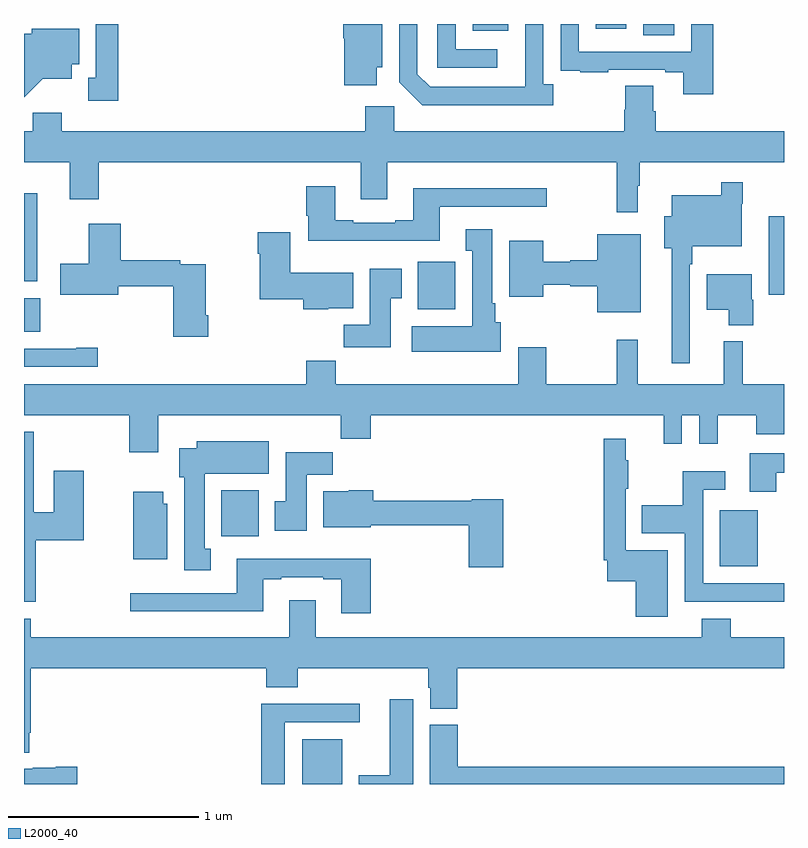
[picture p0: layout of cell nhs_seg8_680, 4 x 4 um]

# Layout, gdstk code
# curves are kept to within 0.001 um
import gdstk
lib = gdstk.Library(unit=1e-6, precision=1e-09)
def R(c, l, rs):  # rectangles x0, y0, x1, y1
    for r in rs: c.add(gdstk.rectangle(r[:2], r[2:], *l))
def P(c, l, *ps):  # polygons
    for p in ps: c.add(gdstk.Polygon(p, *l))
L2000_40 = (2000, 40)

nhs_seg8_680 = lib.new_cell('nhs_seg8_680')
R(nhs_seg8_680, L2000_40, [(156.464,1107.9,156.676,1108.135), (158.663,1109.045,158.863,1109.341), (156.038,1109.204,156.235,1109.446), (155,1110.281,155.086,1110.456), (157.073,1110.398,157.269,1110.649), (158.921,1110.476,159,1110.889), (155,1110.545,155.071,1111.009), (158.258,1111.84,158.422,1111.9), (157.361,1111.865,157.549,1111.9), (158.009,1111.875,158.17,1111.9)])
P(nhs_seg8_680, L2000_40, [(156.856,1111.673),(156.886,1111.673),(156.886,1111.9),(156.679,1111.9),(156.679,1111.826),(156.686,1111.826),(156.686,1111.578),(156.856,1111.578)],
  [(158.627,1111.9),(158.511,1111.9),(158.511,1111.755),(157.92,1111.755),(157.92,1111.9),(157.824,1111.9),(157.824,1111.762),(157.825,1111.762),(157.825,1111.653),(157.927,1111.653),(157.927,1111.647),(158.075,1111.647),(158.075,1111.659),(158.375,1111.659),(158.375,1111.647),(158.471,1111.647),(158.471,1111.53),(158.627,1111.53)],
  [(157.786,1111.582),(157.734,1111.582),(157.734,1111.9),(157.638,1111.9),(157.637,1111.569),(157.137,1111.569),(157.071,1111.635),(157.071,1111.9),(156.975,1111.9),(156.975,1111.593),(157.096,1111.472),(157.786,1111.472)],
  [(155.497,1111.9),(155.378,1111.9),(155.378,1111.617),(155.339,1111.617),(155.339,1111.497),(155.497,1111.497)],
  [(157.492,1111.767),(157.272,1111.767),(157.272,1111.9),(157.176,1111.9),(157.176,1111.671),(157.492,1111.671)],
  [(155.099,1111.613),(155.251,1111.613),(155.251,1111.689),(155.29,1111.689),(155.29,1111.876),(155.04,1111.876),(155.04,1111.849),(155,1111.849),(155,1111.515)],
  [(158.23,1111.049),(158.242,1111.049),(158.242,1111.172),(159,1111.172),(159,1111.336),(158.324,1111.336),(158.324,1111.442),(158.311,1111.442),(158.311,1111.574),(158.164,1111.574),(158.164,1111.449),(158.159,1111.449),(158.159,1111.336),(156.948,1111.336),(156.948,1111.468),(156.797,1111.468),(156.797,1111.336),(155.198,1111.336),(155.198,1111.432),(155.046,1111.432),(155.046,1111.336),(155,1111.336),(155,1111.172),(155.24,1111.172),(155.24,1110.978),(155.393,1110.978),(155.393,1111.172),(156.773,1111.172),(156.773,1110.978),(156.913,1110.978),(156.913,1111.172),(158.121,1111.172),(158.121,1110.909),(158.23,1110.909)],
  [(158.505,1110.635),(158.518,1110.635),(158.518,1110.731),(158.778,1110.731),(158.778,1110.953),(158.783,1110.953),(158.783,1111.066),(158.67,1111.066),(158.67,1111),(158.408,1111),(158.408,1110.889),(158.369,1110.889),(158.369,1110.719),(158.408,1110.719),(158.408,1110.114),(158.505,1110.114)],
  [(157.189,1110.939),(157.75,1110.939),(157.75,1111.036),(157.049,1111.036),(157.049,1110.868),(156.953,1110.868),(156.953,1110.855),(156.733,1110.855),(156.733,1110.868),(156.637,1110.868),(156.637,1111.045),(156.485,1111.045),(156.485,1110.892),(156.497,1110.892),(156.497,1110.758),(157.189,1110.758)],
  [(155.969,1110.367),(155.956,1110.367),(155.956,1110.636),(155.822,1110.636),(155.822,1110.656),(155.51,1110.656),(155.51,1110.85),(155.342,1110.85),(155.342,1110.639),(155.19,1110.639),(155.19,1110.476),(155.497,1110.476),(155.497,1110.52),(155.786,1110.52),(155.786,1110.255),(155.969,1110.255)],
  [(157.51,1110.33),(157.48,1110.33),(157.48,1110.43),(157.465,1110.43),(157.465,1110.82),(157.325,1110.82),(157.325,1110.707),(157.358,1110.707),(157.358,1110.31),(157.041,1110.31),(157.041,1110.176),(157.51,1110.176)],
  [(156.6,1110.404),(156.733,1110.404),(156.733,1110.592),(156.4,1110.592),(156.4,1110.805),(156.23,1110.805),(156.23,1110.692),(156.242,1110.692),(156.242,1110.452),(156.47,1110.452),(156.47,1110.398),(156.6,1110.398)],
  [(158.245,1110.793),(158.018,1110.793),(158.018,1110.656),(157.875,1110.656),(157.875,1110.649),(157.732,1110.649),(157.732,1110.76),(157.553,1110.76),(157.553,1110.464),(157.732,1110.464),(157.732,1110.528),(157.875,1110.528),(157.875,1110.52),(158.018,1110.52),(158.018,1110.383),(158.245,1110.383)],
  [(156.931,1110.457),(156.988,1110.457),(156.988,1110.613),(156.821,1110.613),(156.821,1110.316),(156.682,1110.316),(156.682,1110.198),(156.931,1110.198)],
  [(158.838,1110.45),(158.83,1110.45),(158.83,1110.583),(158.594,1110.583),(158.594,1110.395),(158.708,1110.395),(158.708,1110.314),(158.838,1110.314)],
  [(155.707,1109.84),(156.667,1109.84),(156.667,1109.716),(156.824,1109.716),(156.824,1109.84),(158.366,1109.84),(158.366,1109.691),(158.463,1109.691),(158.463,1109.84),(158.553,1109.84),(158.553,1109.691),(158.651,1109.691),(158.651,1109.84),(158.855,1109.84),(158.855,1109.741),(159,1109.741),(159,1110.004),(158.784,1110.004),(158.784,1110.229),(158.684,1110.229),(158.684,1110.004),(158.231,1110.004),(158.231,1110.238),(158.121,1110.238),(158.121,1110.004),(157.749,1110.004),(157.749,1110.199),(157.601,1110.199),(157.601,1110.004),(156.641,1110.004),(156.641,1110.128),(156.485,1110.128),(156.485,1110.004),(155,1110.004),(155,1109.84),(155.555,1109.84),(155.555,1109.646),(155.707,1109.646)],
  [(155.389,1110.197),(155.276,1110.197),(155.276,1110.192),(155,1110.192),(155,1110.096),(155.389,1110.096)],
  [(155.063,1109.183),(155.314,1109.183),(155.314,1109.548),(155.156,1109.548),(155.156,1109.33),(155.05,1109.33),(155.05,1109.755),(155,1109.755),(155,1108.859),(155.063,1108.859)],
  [(158.389,1109.131),(158.166,1109.131),(158.166,1109.455),(158.179,1109.455),(158.179,1109.603),(158.168,1109.603),(158.168,1109.716),(158.05,1109.716),(158.05,1109.077),(158.07,1109.077),(158.07,1108.966),(158.219,1108.966),(158.219,1108.779),(158.389,1108.779)],
  [(155.983,1109.138),(155.95,1109.138),(155.95,1109.534),(156.289,1109.534),(156.289,1109.704),(155.909,1109.704),(155.909,1109.668),(155.816,1109.668),(155.816,1109.514),(155.843,1109.514),(155.843,1109.025),(155.983,1109.025)],
  [(156.487,1109.528),(156.626,1109.528),(156.626,1109.646),(156.377,1109.646),(156.377,1109.388),(156.32,1109.388),(156.32,1109.232),(156.487,1109.232)],
  [(158.959,1109.537),(159,1109.537),(159,1109.641),(158.819,1109.641),(158.819,1109.439),(158.959,1109.439)],
  [(159,1108.956),(158.574,1108.956),(158.574,1109.448),(158.692,1109.448),(158.692,1109.545),(158.466,1109.545),(158.466,1109.367),(158.251,1109.367),(158.251,1109.219),(158.478,1109.219),(158.478,1108.86),(158.803,1108.86),(158.803,1108.859),(159,1108.859)],
  [(157.523,1109.4),(157.356,1109.4),(157.356,1109.392),(156.839,1109.392),(156.839,1109.446),(156.708,1109.446),(156.708,1109.44),(156.575,1109.44),(156.575,1109.252),(156.826,1109.252),(156.826,1109.263),(157.34,1109.263),(157.34,1109.04),(157.523,1109.04)],
  [(155.755,1109.376),(155.734,1109.376),(155.734,1109.437),(155.576,1109.437),(155.576,1109.084),(155.755,1109.084)],
  [(156.824,1109.086),(156.119,1109.086),(156.119,1108.905),(155.559,1108.905),(155.559,1108.808),(156.259,1108.808),(156.259,1108.977),(156.355,1108.977),(156.355,1108.989),(156.575,1108.989),(156.575,1108.977),(156.671,1108.977),(156.671,1108.8),(156.824,1108.8)],
  [(156.395,1108.672),(155.036,1108.672),(155.036,1108.771),(155,1108.771),(155,1108.064),(155.027,1108.064),(155.027,1108.171),(155.035,1108.171),(155.035,1108.508),(156.275,1108.508),(156.275,1108.409),(156.44,1108.409),(156.44,1108.508),(157.127,1108.508),(157.127,1108.407),(157.139,1108.407),(157.139,1108.297),(157.28,1108.297),(157.28,1108.508),(159,1108.508),(159,1108.672),(158.72,1108.672),(158.72,1108.771),(158.567,1108.771),(158.567,1108.672),(156.535,1108.672),(156.535,1108.867),(156.395,1108.867)],
  [(157.048,1108.345),(156.926,1108.345),(156.926,1107.946),(156.761,1107.946),(156.761,1107.9),(157.048,1107.9)],
  [(156.373,1108.224),(156.766,1108.224),(156.766,1108.322),(156.248,1108.322),(156.248,1107.9),(156.373,1107.9)],
  [(159,1107.992),(157.283,1107.992),(157.283,1108.212),(157.136,1108.212),(157.136,1107.9),(159,1107.9)],
  [(155.281,1107.992),(155.168,1107.992),(155.168,1107.985),(155.046,1107.985),(155.046,1107.979),(155,1107.979),(155,1107.9),(155.281,1107.9)])

lib.write_gds('nhs_seg8_680.gds')
